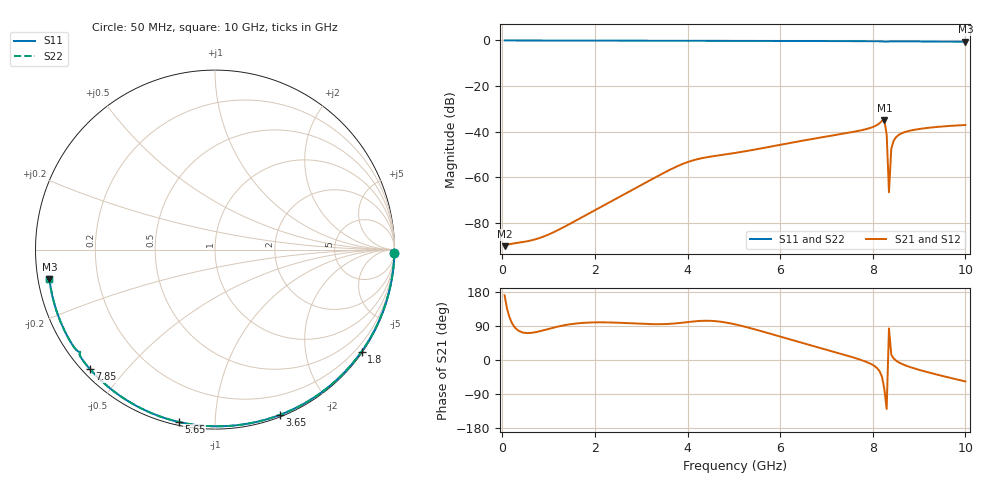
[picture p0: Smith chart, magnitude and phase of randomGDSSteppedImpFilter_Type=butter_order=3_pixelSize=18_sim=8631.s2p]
! freq	dB(S11)	phase(S11)	dB(S12)	phase(S12)
!  dB(S21)	phase(S21)	dB(S22)	phase(S22)
!S-par simulation data
#  GHz  S  DB  R 50
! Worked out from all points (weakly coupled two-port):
!   200 points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, 50 MHz to 10 GHz, reference 50 ohm
!   highest |S21| = -34.93 dB at 8.25 GHz (marker M1); lowest = -90.1 dB at 50 MHz (marker M2)
!   lowest |S11| = -0.6 dB at 10 GHz (marker M3), VSWR 30.80, Z = 1.64 - j4.46 ohm
!   |S11| at or under -10 dB: nowhere
!   |S22| runs from -0.6 to 0.0 dB; largest |S21 - S12| = 0
!   S11 on the Smith chart (normalised r, x): 50 MHz: open; 1.8 GHz: 0.03, -3.19; 3.65 GHz: 0.02, -1.47; 5.65 GHz: 0.02, -0.81; 7.85 GHz: 0.02, -0.40; 10 GHz: 0.03, -0.09
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0.05  -0.00 -1.0  -90.13 170.8  -90.13 170.8  -0.00 -1.0
0.75  -0.02 -14.7  -86.91 74.2  -86.91 74.2  -0.02 -14.7
1.45  -0.04 -28.2  -80.45 94.0  -80.45 94.0  -0.04 -28.2
1.75  -0.04 -33.9  -77.11 98.0  -77.11 98.0  -0.04 -33.9
1.8  -0.04 -34.8  -76.55 98.3  -76.55 98.3  -0.04 -34.9
2.6  -0.06 -49.8  -67.73 97.9  -67.73 97.9  -0.06 -49.8
3.4  -0.09 -64.2  -58.96 94.5  -58.96 94.5  -0.09 -64.2
3.65  -0.09 -68.6  -56.35 95.7  -56.35 95.7  -0.09 -68.6
4.2  -0.11 -78.0  -52.09 102.5  -52.09 102.5  -0.11 -78.1
5.05  -0.14 -92.2  -49.22 93.4  -49.22 93.4  -0.14 -92.2
5.65  -0.16 -101.9  -47.07 74.1  -47.07 74.1  -0.16 -102.0
6.7  -0.23 -118.5  -43.13 37.4  -43.13 37.4  -0.23 -118.6
7.85  -0.32 -136.3  -38.88 -4.4  -38.88 -4.4  -0.32 -136.4
8.05  -0.34 -139.5  -37.50 -17.0  -37.50 -17.0  -0.34 -139.6
8.25  -0.50 -142.9  -34.93 -76.6  -34.93 -76.6  -0.49 -142.9
8.3  -0.51 -142.7  -41.12 -129.3  -41.12 -129.3  -0.51 -142.8
8.35  -0.44 -143.4  -66.53 83.2  -66.53 83.2  -0.43 -143.4
8.4  -0.41 -144.2  -47.38 13.6  -47.38 13.6  -0.41 -144.3
8.45  -0.40 -145.1  -43.98 4.3  -43.98 4.3  -0.40 -145.2
8.55  -0.40 -146.7  -41.53 -5.4  -41.53 -5.4  -0.40 -146.8
9  -0.44 -153.8  -38.80 -25.9  -38.80 -25.9  -0.44 -153.9
10  -0.56 -169.8  -37.06 -56.5  -37.06 -56.5  -0.56 -169.9
